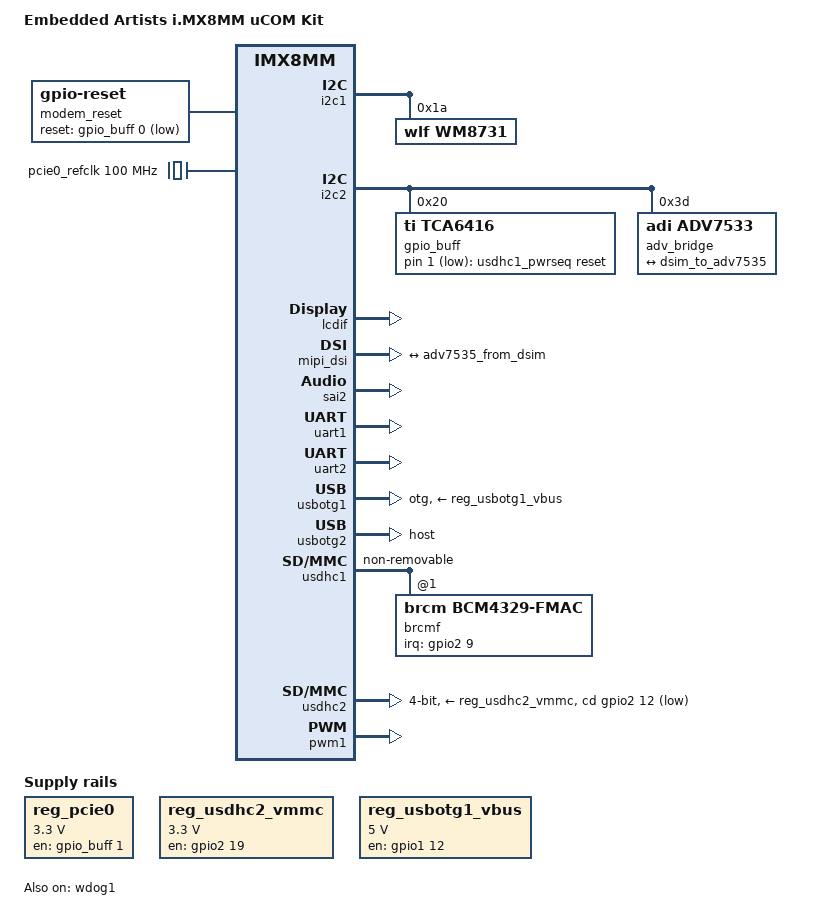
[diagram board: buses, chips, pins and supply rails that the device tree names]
/*
 * Copyright 2020 Embedded Artists AB
 *
 * This program is free software; you can redistribute it and/or
 * modify it under the terms of the GNU General Public License
 * as published by the Free Software Foundation; either version 2
 * of the License, or (at your option) any later version.
 *
 * This program is distributed in the hope that it will be useful,
 * but WITHOUT ANY WARRANTY; without even the implied warranty of
 * MERCHANTABILITY or FITNESS FOR A PARTICULAR PURPOSE.  See the
 * GNU General Public License for more details.
 */

/dts-v1/;

#include <dt-bindings/phy/phy-imx8-pcie.h>
#include "imx8mm-ea-ucom.dtsi"

/ {
	model = "Embedded Artists i.MX8MM uCOM Kit";
	compatible = "fsl,imx8mmea-ucom", "fsl,imx8mm";

	chosen {
		bootargs = "console=ttymxc1,115200 earlycon=ec_imx6q,0x30890000,115200";
		stdout-path = &uart2;
	};

	modem_reset: modem-reset {
		compatible = "gpio-reset";
		reset-gpios = <&gpio_buff 0 GPIO_ACTIVE_LOW>;
		initially-in-reset;
		reset-delay-us = <2000>;
		reset-post-delay-ms = <100>;
		#reset-cells = <0>;
	};


	pcie0_refclk: pcie0-refclk {
		compatible = "fixed-clock";
		#clock-cells = <0>;
		clock-frequency = <100000000>;
	};

	reg_pcie0: regulator-pcie {
		compatible = "regulator-fixed";
		regulator-name = "MPCIE_3V3";
		regulator-min-microvolt = <3300000>;
		regulator-max-microvolt = <3300000>;
		gpio = <&gpio_buff 1 GPIO_ACTIVE_HIGH>;
		enable-active-high;
	};

	regulators {
		compatible = "simple-bus";
		#address-cells = <1>;
		#size-cells = <0>;

		reg_usdhc2_vmmc: regulator-usdhc2 {
			compatible = "regulator-fixed";
			regulator-name = "VSD_3V3";
			regulator-min-microvolt = <3300000>;
			regulator-max-microvolt = <3300000>;
			gpio = <&gpio2 19 GPIO_ACTIVE_HIGH>;
			off-on-delay = <20000>;
			enable-active-high;
		};

		reg_usbotg1_vbus: regulator-usbotg1 {
			compatible = "regulator-fixed";
			regulator-name = "usbotg_vbus";
			regulator-min-microvolt = <5000000>;
			regulator-max-microvolt = <5000000>;
			gpio = <&gpio1 12 GPIO_ACTIVE_HIGH>;
			off-on-delay = <20000>;
			enable-active-high;
		};

		/* add construct for "fmac" to control WL_REG_ON signal */
		usdhc1_pwrseq: usdhc1_pwrseq {
			compatible = "mmc-pwrseq-simple";
			reset-gpios = <&gpio_buff 1 GPIO_ACTIVE_LOW>; /* WL REG ON */
			post-power-on-delay-ms = <120>;
			status = "okay";
		};

	};

	sound-wm8731 {
		compatible = "simple-audio-card";
		simple-audio-card,name = "wm8731-audio";
		simple-audio-card,format = "i2s";
		simple-audio-card,frame-master = <&cpudai>;
		simple-audio-card,bitclock-master = <&cpudai>;
		simple-audio-card,widgets =
			"Line", "Left Line Out Jack",
			"Line", "Right Line Out Jack";
		simple-audio-card,routing =
			"Left Line Out Jack", "LOUT",
			"Right Line Out Jack", "ROUT";

		cpudai: simple-audio-card,cpu {
			sound-dai = <&sai2>;
			dai-tdm-slot-num = <2>;
			dai-tdm-slot-width = <32>;
		};

		simple-audio-card,codec {
			sound-dai = <&wm8731>;
			clocks = <&clk IMX8MM_CLK_SAI2_ROOT>;
		};
	};

};

&iomuxc {
	pinctrl-names = "default";

	imx8mmea-ucom-kit {

		pinctrl_mipi_dsi_en: mipi_dsi_en {
			fsl,pins = <
				MX8MM_IOMUXC_GPIO1_IO08_GPIO1_IO8		0x16
			>;
		};

		pinctrl_pcie0: pcie0grp {
			fsl,pins = <
				MX8MM_IOMUXC_I2C4_SCL_PCIE1_CLKREQ_B	0x61 /* open drain, pull up */
			>;
		};

		pinctrl_sai2: sai2grp {
			fsl,pins = <
				MX8MM_IOMUXC_SAI2_MCLK_SAI2_MCLK	0xd6
				MX8MM_IOMUXC_SAI2_TXD0_SAI2_TX_DATA0	0xd6
				MX8MM_IOMUXC_SAI2_TXC_SAI2_TX_BCLK	0xd6
				MX8MM_IOMUXC_SAI2_RXD0_SAI2_RX_DATA0	0xd6
				MX8MM_IOMUXC_SAI2_TXFS_SAI2_TX_SYNC	0xd6
			>;
		};

		pinctrl_uart1: uart1grp {
			fsl,pins = <
				MX8MM_IOMUXC_UART1_RXD_UART1_DCE_RX	0x140
				MX8MM_IOMUXC_UART1_TXD_UART1_DCE_TX	0x140
				MX8MM_IOMUXC_UART3_RXD_UART1_DCE_CTS_B	0x140
				MX8MM_IOMUXC_UART3_TXD_UART1_DCE_RTS_B	0x140
			>;
		};

		pinctrl_uart2: uart2grp {
			fsl,pins = <
				MX8MM_IOMUXC_UART2_RXD_UART2_DCE_RX	0x140
				MX8MM_IOMUXC_UART2_TXD_UART2_DCE_TX	0x140
			>;
		};

		pinctrl_usdhc1_gpio: usdhc1grpgpio {
			fsl,pins = <
				MX8MM_IOMUXC_SD1_DATA7_GPIO2_IO9	0x1c4

			>;
		};

		pinctrl_usdhc1: usdhc1grp {
			fsl,pins = <
				MX8MM_IOMUXC_SD1_CLK_USDHC1_CLK		0x190
				MX8MM_IOMUXC_SD1_CMD_USDHC1_CMD		0x1d0
				MX8MM_IOMUXC_SD1_DATA0_USDHC1_DATA0	0x1d0
				MX8MM_IOMUXC_SD1_DATA1_USDHC1_DATA1	0x1d0
				MX8MM_IOMUXC_SD1_DATA2_USDHC1_DATA2	0x1d0
				MX8MM_IOMUXC_SD1_DATA3_USDHC1_DATA3	0x1d0
			>;
		};

		pinctrl_usdhc1_100mhz: usdhc1grp100mhz {
			fsl,pins = <
				MX8MM_IOMUXC_SD1_CLK_USDHC1_CLK		0x194
				MX8MM_IOMUXC_SD1_CMD_USDHC1_CMD		0x1d4
				MX8MM_IOMUXC_SD1_DATA0_USDHC1_DATA0	0x1d4
				MX8MM_IOMUXC_SD1_DATA1_USDHC1_DATA1	0x1d4
				MX8MM_IOMUXC_SD1_DATA2_USDHC1_DATA2	0x1d4
				MX8MM_IOMUXC_SD1_DATA3_USDHC1_DATA3	0x1d4
			>;
		};

		pinctrl_usdhc1_200mhz: usdhc1grp200mhz {
			fsl,pins = <
				MX8MM_IOMUXC_SD1_CLK_USDHC1_CLK		0x192
				MX8MM_IOMUXC_SD1_CMD_USDHC1_CMD		0x1d4
				MX8MM_IOMUXC_SD1_DATA0_USDHC1_DATA0	0x1d4
				MX8MM_IOMUXC_SD1_DATA1_USDHC1_DATA1	0x1d4
				MX8MM_IOMUXC_SD1_DATA2_USDHC1_DATA2	0x1d4
				MX8MM_IOMUXC_SD1_DATA3_USDHC1_DATA3	0x1d4
			>;
		};

		pinctrl_usdhc2_gpio: usdhc2grpgpio {
			fsl,pins = <
				MX8MM_IOMUXC_SD2_RESET_B_GPIO2_IO19     0x41
				MX8MM_IOMUXC_SD2_CD_B_GPIO2_IO12	0x1c4
			>;
		};

		pinctrl_usdhc2: usdhc2grp {
			fsl,pins = <
				MX8MM_IOMUXC_SD2_CLK_USDHC2_CLK		0x190
				MX8MM_IOMUXC_SD2_CMD_USDHC2_CMD		0x1d0
				MX8MM_IOMUXC_SD2_DATA0_USDHC2_DATA0	0x1d0
				MX8MM_IOMUXC_SD2_DATA1_USDHC2_DATA1	0x1d0
				MX8MM_IOMUXC_SD2_DATA2_USDHC2_DATA2	0x1d0
				MX8MM_IOMUXC_SD2_DATA3_USDHC2_DATA3	0x1d0
				MX8MM_IOMUXC_GPIO1_IO04_USDHC2_VSELECT	0x1d0
			>;
		};

		pinctrl_usdhc2_100mhz: usdhc2grp100mhz {
			fsl,pins = <
				MX8MM_IOMUXC_SD2_CLK_USDHC2_CLK		0x194
				MX8MM_IOMUXC_SD2_CMD_USDHC2_CMD		0x1d4
				MX8MM_IOMUXC_SD2_DATA0_USDHC2_DATA0	0x1d4
				MX8MM_IOMUXC_SD2_DATA1_USDHC2_DATA1	0x1d4
				MX8MM_IOMUXC_SD2_DATA2_USDHC2_DATA2	0x1d4
				MX8MM_IOMUXC_SD2_DATA3_USDHC2_DATA3	0x1d4
				MX8MM_IOMUXC_GPIO1_IO04_USDHC2_VSELECT	0x1d0
			>;
		};

		pinctrl_usdhc2_200mhz: usdhc2grp200mhz {
			fsl,pins = <
				MX8MM_IOMUXC_SD2_CLK_USDHC2_CLK		0x196
				MX8MM_IOMUXC_SD2_CMD_USDHC2_CMD		0x1d6
				MX8MM_IOMUXC_SD2_DATA0_USDHC2_DATA0	0x1d6
				MX8MM_IOMUXC_SD2_DATA1_USDHC2_DATA1	0x1d6
				MX8MM_IOMUXC_SD2_DATA2_USDHC2_DATA2	0x1d6
				MX8MM_IOMUXC_SD2_DATA3_USDHC2_DATA3	0x1d6
				MX8MM_IOMUXC_GPIO1_IO04_USDHC2_VSELECT	0x1d0
			>;
		};

		pinctrl_wdog: wdoggrp {
			fsl,pins = <
				MX8MM_IOMUXC_GPIO1_IO02_WDOG1_WDOG_B		0xc6
			>;
		};

		pinctrl_pwm1: pwm1grp {
			fsl,pins = <
				MX8MM_IOMUXC_GPIO1_IO01_PWM1_OUT		0x06
			>;
		};

		pinctrl_usbotg1: usbotg1grp {
			fsl,pins = <
				MX8MM_IOMUXC_GPIO1_IO12_GPIO1_IO12		0x1d6
				MX8MM_IOMUXC_GPIO1_IO13_USB1_OTG_OC		0x1d6
			>;
		};

		/* Expansion Board */
		pinctrl_exp_conn: expconngrp {
			fsl,pins = <
										/* GPIO_H Not Connected */
										/* GPIO_J Not Connected */
				/*MX8MM_IOMUXC_GPIO1_IO00_GPIO1_IO0	0xC6       GPIO_K ADV7535 INT (on adapter board) */
				/*MX8MM_IOMUXC_GPIO1_IO08_GPIO1_IO8	0xC6	   GPIO_P MIPI_DSI_EN */
										/* GPIO_Q Not Connected */
										/* GPIO_R Not Connected */
										/* GPIO_S Not Connected */
										/* GPIO_T Not Connected */
										/* GPIO_U Not Connected */
										/* GPIO_V Not Connected */
										/* GPIO_W Not Connected */
										/* GPIO_X Not Connected */
										/* GPIO_Y Not Connected */
										/* GPIO_Z Not Connected */
										/* GPIO_AA Not Connected */
										/* GPIO_AB Not Connected */
										/* GPIO_AC Not Connected */
										/* GPIO_AD Not Connected */
										/* GPIO_AE Not Connected */
										/* GPIO_AF Not Connected */
										/* GPIO_AG Not Connected */
										/* GPIO_AH Not Connected */

				MX8MM_IOMUXC_SD1_RESET_B_GPIO2_IO10	0xC6	/* GPIO_AJ */
				MX8MM_IOMUXC_SD1_DATA5_GPIO2_IO7	0xC6	/* GPIO_AK */
				MX8MM_IOMUXC_SD1_DATA4_GPIO2_IO6	0xC6	/* GPIO_AL */

				/*MX8MM_IOMUXC_SD2_WP_GPIO2_IO20	0xC6	   GPIO_AP MIDI DSI (on adapter board) */
										/* GPIO_AQ Not Connected */
										/* GPIO_AR Not Connected */
										/* GPIO_AS Not Connected */
										/* GPIO_AT Not Connected */
										/* GPIO_AU Not Connected */
										/* GPIO_AV Not Connected */
			>;
		};

	};
};

&i2c1 {

	wm8731: wm8731@1a {
		#sound-dai-cells = <0>;
		compatible = "wlf,wm8731";
		reg = <0x1a>;
		clocks = <&clk IMX8MM_CLK_SAI2_ROOT>;
		clock-names = "mclk";
        };
};

&i2c2 {

	gpio_buff: pca6416@20 {
		compatible = "ti,tca6416";
		reg = <0x20>;
		gpio-controller;
		#gpio-cells = <2>;
		gpio-line-names = "BT_REG_ON", "WL_REG_ON", "VBAT_VSEL",
			"BT_DEV_WAKE", "", "AUD_CODEC_MUX_CTRL1",
			"VDDIO_VSEL", "PCIE_PERST_L", "",
			"DIR_WL_DEV_WAKE", "PCIE_CLK_MUX_CTRL", "AUD_CODEC_MUX_CTRL2",
			"DIR_BT_AUD_WS_CLK", "USER_BTN", "USER_LED1", "USER_LED2";

		hog_VBAT_VSEL {
			gpio-hog;
			gpios = <2 0>;
			output-low; /* LOW = 3.3V, HIGH = 3.6V */
		};
		hog_AUD_CODEC_MUX_CTRL1 {
			gpio-hog;
			gpios = <5 0>;
			output-low;
		};
		hog_VDDIO_VSEL {
			gpio-hog;
			gpios = <6 0>;
			output-low; /* LOW = 1.8V, HIGH = 3.3V */
		};
		hog_DIR_WL_DEV_WAKE {
			gpio-hog;
			gpios = <9 0>;
			output-low;
		};
		hog_PCIE_CLK_MUX_CTRL {
			gpio-hog;
			gpios = <10 0>;
			output-low; /* LOW = External Reference Clock, HIGH = i.MX Generated Clock */
		};
		hog_AUD_CODEC_MUX_CTRL2 {
			gpio-hog;
			gpios = <11 0>;
			output-low;
		};
	};

	adv_bridge: adv7535@3d {
		compatible = "adi,adv7533";
		reg = <0x3d>;
		adi,dsi-lanes = <4>;
		status = "okay";

		port {
			adv7535_from_dsim: endpoint {
				remote-endpoint = <&dsim_to_adv7535>;
			};
		};
	};
};

&lcdif {
	status = "okay";
};

&mipi_dsi {
	status = "okay";

	port@1 {
		dsim_to_adv7535: endpoint {
			remote-endpoint = <&adv7535_from_dsim>;
			attach-bridge;
		};
	};
};

&sai2 {
	#sound-dai-cells = <0>;
	pinctrl-names = "default";
	pinctrl-0 = <&pinctrl_sai2>;
	assigned-clocks = <&clk IMX8MM_CLK_SAI2>;
	assigned-clock-parents = <&clk IMX8MM_AUDIO_PLL2_OUT>;
	assigned-clock-rates = <11289600>;
	status = "okay";
};

&pcie_phy {
	fsl,refclk-pad-mode = <IMX8_PCIE_REFCLK_PAD_INPUT>;
	fsl,tx-deemph-gen1 = <0x2d>;
	fsl,tx-deemph-gen2 = <0xf>;
	clocks = <&pcie0_refclk>;
	status = "disabled";
};

&pcie0{
	pinctrl-names = "default";
	pinctrl-0 = <&pinctrl_pcie0>;
	reset-gpio = <&gpio_buff 7 GPIO_ACTIVE_LOW>;   /* PCIE_PERST_L */
	clocks = <&clk IMX8MM_CLK_PCIE1_ROOT>,
		 <&clk IMX8MM_CLK_PCIE1_AUX>,
		 <&pcie0_refclk>;
	clock-names = "pcie", "pcie_aux", "pcie_bus";
	assigned-clocks = <&clk IMX8MM_CLK_PCIE1_AUX>,
			  <&clk IMX8MM_CLK_PCIE1_CTRL>;
	assigned-clock-rates = <10000000>, <250000000>;
	assigned-clock-parents = <&clk IMX8MM_SYS_PLL2_50M>,
				 <&clk IMX8MM_SYS_PLL2_250M>;
	vpcie-supply = <&reg_pcie0>;
	status = "disabled";
};

&uart1 { /* Bluetooth UART */
	pinctrl-names = "default";
	pinctrl-0 = <&pinctrl_uart1>;
	status = "okay";

	assigned-clocks = <&clk IMX8MM_CLK_UART1>;
	assigned-clock-parents = <&clk IMX8MM_SYS_PLL1_80M>;

	resets = <&modem_reset>;
	fsl,uart-has-rtscts;
};

&uart2 { /* Console */
	pinctrl-names = "default";
	pinctrl-0 = <&pinctrl_uart2>;
	status = "okay";
};

&uart3 { /* Disabled as pins are used by Bluetooth for RTS/CTS */
	status = "disabled";
};

&usbotg1 {
	dr_mode = "otg";
	picophy,pre-emp-curr-control = <3>;
	picophy,dc-vol-level-adjust = <7>;
	status = "okay";

	pinctrl-names = "default";
	pinctrl-0 = <&pinctrl_usbotg1>;
	vbus-supply = <&reg_usbotg1_vbus>;
};

&usbotg2 {
	dr_mode = "host";
	picophy,pre-emp-curr-control = <3>;
	picophy,dc-vol-level-adjust = <7>;
	status = "okay";
};

/* M.2 connector */
&usdhc1 {
	#address-cells = <1>;
	#size-cells = <0>;
	pinctrl-names = "default", "state_100mhz", "state_200mhz";
	pinctrl-0 = <&pinctrl_usdhc1>, <&pinctrl_usdhc1_gpio>;
	pinctrl-1 = <&pinctrl_usdhc1_100mhz>, <&pinctrl_usdhc1_gpio>;
	pinctrl-2 = <&pinctrl_usdhc1_200mhz>, <&pinctrl_usdhc1_gpio>;
	keep-power-in-suspend;
	non-removable;
	pm-ignore-notify;
	cap-power-off;
	mmc-pwrseq = <&usdhc1_pwrseq>;
	status = "okay";
	brcmf: bcrmf@1 {
		reg = <1>;
		compatible = "brcm,bcm4329-fmac";
		interrupt-parent = <&gpio2>;
		interrupts = <9 IRQ_TYPE_LEVEL_LOW>;  /* WL_HOST_WAKE = GPIO2_IO09 active low for M.2. */
		interrupt-names = "host-wake";
	};
};

/* uSD connector on carrier board */
&usdhc2 {
	pinctrl-names = "default", "state_100mhz", "state_200mhz";
	pinctrl-0 = <&pinctrl_usdhc2>, <&pinctrl_usdhc2_gpio>;
	pinctrl-1 = <&pinctrl_usdhc2_100mhz>, <&pinctrl_usdhc2_gpio>;
	pinctrl-2 = <&pinctrl_usdhc2_200mhz>, <&pinctrl_usdhc2_gpio>;
	bus-width = <4>;
	cd-gpios = <&gpio2 12 GPIO_ACTIVE_LOW>;
	vmmc-supply = <&reg_usdhc2_vmmc>;
	status = "okay";
};

&wdog1 {
	pinctrl-names = "default";
	pinctrl-0 = <&pinctrl_wdog>;
	fsl,ext-reset-output;
	status = "okay";
};

&pwm1 {
	status= "okay";
	pinctrl-names = "default";
	pinctrl-0 = <&pinctrl_pwm1>;
};

